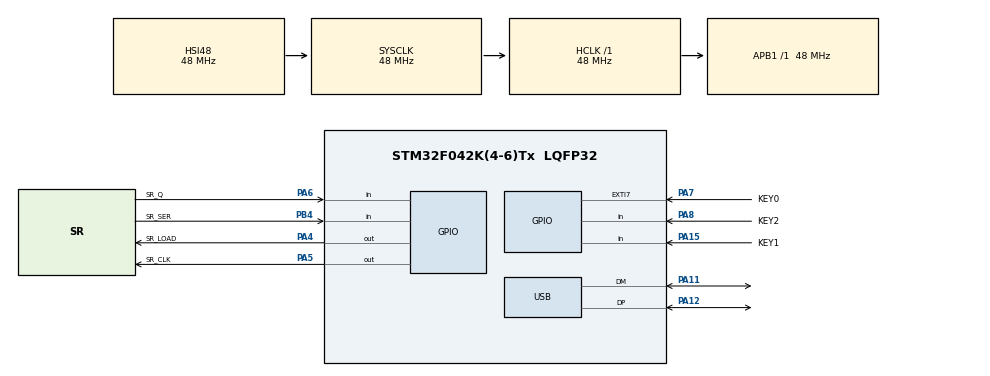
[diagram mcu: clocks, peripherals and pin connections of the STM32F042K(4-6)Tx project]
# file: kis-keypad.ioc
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Mcu.Family=STM32F0
Mcu.Name=STM32F042K(4-6)Tx
Mcu.Package=LQFP32
NVIC.USB_IRQn=true\:0\:0\:false\:false\:true\:false\:true
PA11.Mode=Device
PA11.Signal=USB_DM
PA12.Mode=Device
PA12.Signal=USB_DP
PA13.Mode=Serial_Wire
PA13.Signal=SYS_SWDIO
PA14.Mode=Serial_Wire
PA14.Signal=SYS_SWCLK
PA15.GPIO_Label=KEY1
PA15.GPIO_PuPd=GPIO_PULLUP
PA15.Signal=GPIO_Input
PA4.GPIO_Label=SR_LOAD
PA4.Signal=GPIO_Output
PA5.GPIO_Label=SR_CLK
PA5.Signal=GPIO_Output
PA6.GPIO_Label=SR_Q
PA6.GPIO_PuPd=GPIO_PULLDOWN
PA6.Signal=GPIO_Input
PA7.GPIO_Label=KEY0
PA7.GPIO_PuPd=GPIO_PULLUP
PA7.Signal=GPXTI7
PA8.GPIO_Label=KEY2
PA8.GPIO_PuPd=GPIO_PULLUP
PA8.Signal=GPIO_Input
PB4.GPIO_Label=SR_SER
PB4.GPIO_PuPd=GPIO_PULLDOWN
PB4.Signal=GPIO_Input
ProjectManager.HeapSize=0x200
ProjectManager.StackSize=0x400
ProjectManager.TargetToolchain=Makefile
RCC.AHBFreq_Value=48000000
RCC.APB1Freq_Value=48000000
RCC.APB1TimFreq_Value=48000000
RCC.HCLKFreq_Value=48000000
RCC.SYSCLKFreq_VALUE=48000000
RCC.SYSCLKSource=RCC_SYSCLKSOURCE_HSI48
USB_DEVICE.CLASS_NAME_FS=HID
USB_DEVICE.VirtualMode=Hid
USB_DEVICE.VirtualModeFS=Hid_FS
VP_RCC_USB.Mode=CRS SYNC Source USB
VP_USB_DEVICE_VS_USB_DEVICE_HID_FS.Mode=HID_FS
board=custom

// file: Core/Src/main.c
/* USER CODE BEGIN Header */
/**
  ******************************************************************************
  * @file           : main.c
  * @brief          : Main program body
  ******************************************************************************
  * @attention
  *
  * <h2><center>&copy; Copyright (c) 2023 STMicroelectronics.
  * All rights reserved.</center></h2>
  *
  * This software component is licensed by ST under Ultimate Liberty license
  * SLA0044, the "License"; You may not use this file except in compliance with
  * the License. You may obtain a copy of the License at:
  *                             www.st.com/SLA0044
  *
  ******************************************************************************
  */
/* USER CODE END Header */
#include "main.h"
#include "usb_device.h"
#include "usbd_hid.h"

void SystemClock_Config(void);
static void MX_GPIO_Init(void);

/* USER CODE BEGIN 0 */

extern USBD_HandleTypeDef hUsbDeviceFS;

typedef struct
{
	uint8_t mod;
	uint8_t reserved;
	uint8_t keys[6];
} keyboardHID;
static keyboardHID keyboardhid = {0,0,{0,0,0,0,0,0}};

static void spi_delay()
{
  for(uint32_t i = 0; i<1000; i++) {
    __NOP();
  }
}

/* USER CODE END 0 */

int main(void)
{

  /* MCU Configuration--------------------------------------------------------*/

  /* Reset of all peripherals, Initializes the Flash interface and the Systick. */
  HAL_Init();

  /* Configure the system clock */
  SystemClock_Config();

  /* Initialize all configured peripherals */
  MX_GPIO_Init();
  MX_USB_DEVICE_Init();
  /* USER CODE BEGIN 2 */

  uint16_t keys = 0;
  uint16_t keys_last = 0;

  /* USER CODE END 2 */

  /* Infinite loop */
  /* USER CODE BEGIN WHILE */
  while (1)
  {
    HAL_GPIO_WritePin(SR_LOAD_GPIO_Port, SR_LOAD_Pin, GPIO_PIN_RESET);
    spi_delay();
    HAL_GPIO_WritePin(SR_LOAD_GPIO_Port, SR_LOAD_Pin, GPIO_PIN_SET);
    spi_delay();

    volatile uint32_t sr1 = 0;
    volatile uint32_t sr2 = 0;

    for(int i = 0;i < 16; i++) {
      sr1 <<= 1;
      sr2 <<= 1;
      if(HAL_GPIO_ReadPin(SR_Q_GPIO_Port, SR_Q_Pin) == GPIO_PIN_SET)
        sr1 |= 1;
      if(HAL_GPIO_ReadPin(SR_SER_GPIO_Port, SR_SER_Pin) == GPIO_PIN_SET)
        sr2 |= 1;
      spi_delay();
      HAL_GPIO_WritePin(SR_CLK_GPIO_Port, SR_CLK_Pin, GPIO_PIN_SET);
      spi_delay();
      HAL_GPIO_WritePin(SR_CLK_GPIO_Port, SR_CLK_Pin, GPIO_PIN_RESET);
    }

    keys = 0;

    if(!(sr1 & (1<<12)))
      keys |= (1<<0);

    if(!(sr1 & (1<<15)))
      keys |= (1<<1);

    if(!(sr1 & (1<<13)))
      keys |= (1<<2);

    if(HAL_GPIO_ReadPin(KEY0_GPIO_Port, KEY0_Pin) == GPIO_PIN_RESET)
      keys |= (1<<3);
    if(HAL_GPIO_ReadPin(KEY2_GPIO_Port, KEY2_Pin) == GPIO_PIN_RESET)
      keys |= (1<<4);
    if(HAL_GPIO_ReadPin(KEY1_GPIO_Port, KEY1_Pin) == GPIO_PIN_RESET)
      keys |= (1<<5);

    if(!(sr2 & (1<<12)))
      keys |= (1<<6);

    if(!(sr2 & (1<<15)))
      keys |= (1<<7);

    if(!(sr2 & (1<<13)))
      keys |= (1<<8);

    if(!(sr2 & (1<<4)))
      keys |= (1<<9);

    if(!(sr2 & (1<<7)))
      keys |= (1<<10);

    if(!(sr2 & (1<<5)))
      keys |= (1<<11);

    if(keys != keys_last)
    {
       keyboardhid.mod = 0x00;
       memset(keyboardhid.keys, 0, sizeof(keyboardhid.keys));
       unsigned int key_index = 0;
       uint16_t mask = 1;
       for(unsigned int i = 0; i < 12; i++) {
         if(key_index >= 6)
           break;
         if(keys & mask) {
            keyboardhid.keys[key_index] = 0x3a+i;
            key_index++;
         }

         mask <<= 1;
       }

        USBD_HID_SendReport(&hUsbDeviceFS, (uint8_t*)&keyboardhid, sizeof (keyboardhid));

    }

    keys_last = keys;

    HAL_Delay (10);

    /* USER CODE END WHILE */

  }
}

void SystemClock_Config(void)
{
  RCC_OscInitTypeDef RCC_OscInitStruct = {0};
  RCC_ClkInitTypeDef RCC_ClkInitStruct = {0};
  RCC_PeriphCLKInitTypeDef PeriphClkInit = {0};
  RCC_CRSInitTypeDef RCC_CRSInitStruct = {0};

  /** Initializes the RCC Oscillators according to the specified parameters
  * in the RCC_OscInitTypeDef structure.
  */
  RCC_OscInitStruct.OscillatorType = RCC_OSCILLATORTYPE_HSI48;
  RCC_OscInitStruct.HSI48State = RCC_HSI48_ON;
  RCC_OscInitStruct.PLL.PLLState = RCC_PLL_NONE;
  if (HAL_RCC_OscConfig(&RCC_OscInitStruct) != HAL_OK)
  {
    Error_Handler();
  }
  /** Initializes the CPU, AHB and APB buses clocks
  */
  RCC_ClkInitStruct.ClockType = RCC_CLOCKTYPE_HCLK|RCC_CLOCKTYPE_SYSCLK
                              |RCC_CLOCKTYPE_PCLK1;
  RCC_ClkInitStruct.SYSCLKSource = RCC_SYSCLKSOURCE_HSI48;
  RCC_ClkInitStruct.AHBCLKDivider = RCC_SYSCLK_DIV1;
  RCC_ClkInitStruct.APB1CLKDivider = RCC_HCLK_DIV1;

  if (HAL_RCC_ClockConfig(&RCC_ClkInitStruct, FLASH_LATENCY_1) != HAL_OK)
  {
    Error_Handler();
  }
  PeriphClkInit.PeriphClockSelection = RCC_PERIPHCLK_USB;
  PeriphClkInit.UsbClockSelection = RCC_USBCLKSOURCE_HSI48;

  if (HAL_RCCEx_PeriphCLKConfig(&PeriphClkInit) != HAL_OK)
  {
    Error_Handler();
  }
  /** Enable the SYSCFG APB clock
  */
  __HAL_RCC_CRS_CLK_ENABLE();
  /** Configures CRS
  */
  RCC_CRSInitStruct.Prescaler = RCC_CRS_SYNC_DIV1;
  RCC_CRSInitStruct.Source = RCC_CRS_SYNC_SOURCE_USB;
  RCC_CRSInitStruct.Polarity = RCC_CRS_SYNC_POLARITY_RISING;
  RCC_CRSInitStruct.ReloadValue = __HAL_RCC_CRS_RELOADVALUE_CALCULATE(48000000,1000);
  RCC_CRSInitStruct.ErrorLimitValue = 34;
  RCC_CRSInitStruct.HSI48CalibrationValue = 32;

  HAL_RCCEx_CRSConfig(&RCC_CRSInitStruct);
}

static void MX_GPIO_Init(void)
{
  GPIO_InitTypeDef GPIO_InitStruct = {0};

  /* GPIO Ports Clock Enable */
  __HAL_RCC_GPIOA_CLK_ENABLE();
  __HAL_RCC_GPIOB_CLK_ENABLE();

  /*Configure GPIO pin Output Level */
  HAL_GPIO_WritePin(GPIOA, SR_LOAD_Pin|SR_CLK_Pin, GPIO_PIN_RESET);

  /*Configure GPIO pins : SR_LOAD_Pin SR_CLK_Pin */
  GPIO_InitStruct.Pin = SR_LOAD_Pin|SR_CLK_Pin;
  GPIO_InitStruct.Mode = GPIO_MODE_OUTPUT_PP;
  GPIO_InitStruct.Pull = GPIO_NOPULL;
  GPIO_InitStruct.Speed = GPIO_SPEED_FREQ_LOW;
  HAL_GPIO_Init(GPIOA, &GPIO_InitStruct);

  /*Configure GPIO pin : SR_Q_Pin */
  GPIO_InitStruct.Pin = SR_Q_Pin;
  GPIO_InitStruct.Mode = GPIO_MODE_INPUT;
  GPIO_InitStruct.Pull = GPIO_PULLDOWN;
  HAL_GPIO_Init(SR_Q_GPIO_Port, &GPIO_InitStruct);

  /*Configure GPIO pin : KEY0_Pin */
  GPIO_InitStruct.Pin = KEY0_Pin;
  GPIO_InitStruct.Mode = GPIO_MODE_IT_RISING;
  GPIO_InitStruct.Pull = GPIO_PULLUP;
  HAL_GPIO_Init(KEY0_GPIO_Port, &GPIO_InitStruct);

  /*Configure GPIO pins : KEY2_Pin KEY1_Pin */
  GPIO_InitStruct.Pin = KEY2_Pin|KEY1_Pin;
  GPIO_InitStruct.Mode = GPIO_MODE_INPUT;
  GPIO_InitStruct.Pull = GPIO_PULLUP;
  HAL_GPIO_Init(GPIOA, &GPIO_InitStruct);

  /*Configure GPIO pin : SR_SER_Pin */
  GPIO_InitStruct.Pin = SR_SER_Pin;
  GPIO_InitStruct.Mode = GPIO_MODE_INPUT;
  GPIO_InitStruct.Pull = GPIO_PULLDOWN;
  HAL_GPIO_Init(SR_SER_GPIO_Port, &GPIO_InitStruct);

}

void Error_Handler(void)
{
  __disable_irq();
  while (1)
  {
  }
}

/************************ (C) COPYRIGHT STMicroelectronics *****END OF FILE****/
